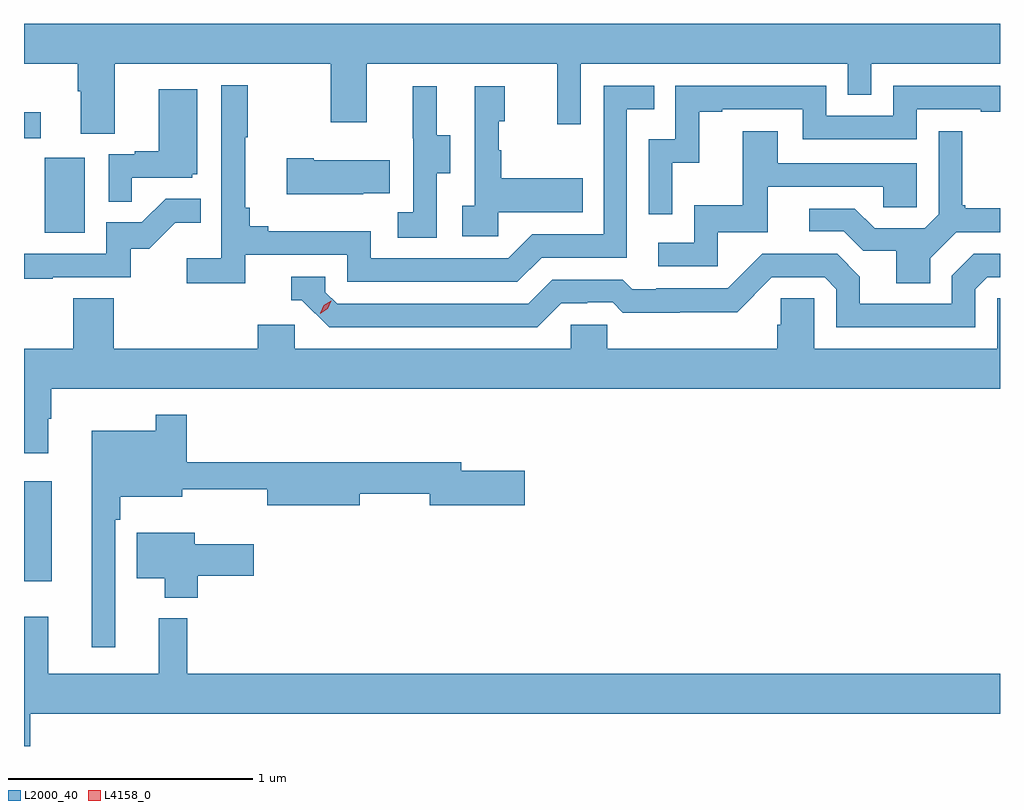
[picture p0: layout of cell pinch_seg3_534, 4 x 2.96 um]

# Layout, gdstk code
import gdstk
lib = gdstk.Library(unit=1e-6, precision=1e-09)
def R(c, l, rs):  # rectangles x0, y0, x1, y1
    for r in rs: c.add(gdstk.rectangle(r[:2], r[2:], *l))
def P(c, l, *ps):  # polygons
    for p in ps: c.add(gdstk.Polygon(p, *l))
L2000_40 = (2000, 40)
L4158_0 = (4158, 0)

pinch_seg3_534 = lib.new_cell('pinch_seg3_534')
R(pinch_seg3_534, L2000_40, [(1104.073,694.799,1104.187,695.209), (1104.158,696.228,1104.322,696.535), (1104.073,696.615,1104.142,696.721)])
P(pinch_seg3_534, L2000_40, [(1104.445,696.92),(1105.33,696.92),(1105.33,696.681),(1105.477,696.681),(1105.477,696.92),(1106.258,696.92),(1106.258,696.672),(1106.355,696.672),(1106.355,696.92),(1107.45,696.92),(1107.45,696.793),(1107.546,696.793),(1107.546,696.92),(1108.073,696.92),(1108.073,697.084),(1104.073,697.084),(1104.073,696.92),(1104.293,696.92),(1104.293,696.808),(1104.305,696.808),(1104.305,696.634),(1104.445,696.634)],
  [(1104.98,696.138),(1105.398,696.138),(1105.398,696.027),(1106.095,696.027),(1106.194,696.126),(1106.544,696.126),(1106.544,696.735),(1106.657,696.735),(1106.657,696.831),(1106.448,696.831),(1106.448,696.222),(1106.157,696.222),(1106.058,696.123),(1105.494,696.123),(1105.494,696.235),(1105.075,696.235),(1105.075,696.254),(1104.998,696.254),(1104.998,696.331),(1104.979,696.331),(1104.979,696.619),(1104.991,696.619),(1104.991,696.832),(1104.882,696.832),(1104.882,696.124),(1104.741,696.124),(1104.741,696.022),(1104.98,696.022)],
  [(1106.73,696.515),(1106.84,696.515),(1106.84,696.723),(1106.935,696.723),(1106.935,696.735),(1107.264,696.735),(1107.264,696.612),(1107.732,696.612),(1107.732,696.735),(1107.995,696.735),(1107.995,696.723),(1108.073,696.723),(1108.073,696.831),(1107.636,696.831),(1107.636,696.708),(1107.36,696.708),(1107.36,696.831),(1106.742,696.831),(1106.742,696.612),(1106.634,696.612),(1106.634,696.303),(1106.73,696.303)],
  [(1105.764,696.472),(1105.819,696.472),(1105.819,696.627),(1105.765,696.627),(1105.765,696.829),(1105.667,696.829),(1105.667,696.615),(1105.668,696.615),(1105.668,696.311),(1105.605,696.311),(1105.605,696.208),(1105.764,696.208)],
  [(1106.016,696.311),(1106.363,696.311),(1106.363,696.451),(1106.029,696.451),(1106.029,696.566),(1106.019,696.566),(1106.019,696.684),(1106.044,696.684),(1106.044,696.829),(1105.92,696.829),(1105.92,696.338),(1105.869,696.338),(1105.869,696.213),(1106.016,696.213)],
  [(1104.515,696.453),(1104.762,696.453),(1104.762,696.468),(1104.784,696.468),(1104.784,696.817),(1104.626,696.817),(1104.626,696.562),(1104.527,696.562),(1104.527,696.549),(1104.42,696.549),(1104.42,696.355),(1104.515,696.355)],
  [(1106.916,696.231),(1107.121,696.231),(1107.121,696.417),(1107.595,696.417),(1107.595,696.333),(1107.732,696.333),(1107.732,696.513),(1107.163,696.513),(1107.163,696.643),(1107.019,696.643),(1107.019,696.34),(1106.82,696.34),(1106.82,696.186),(1106.673,696.186),(1106.673,696.09),(1106.916,696.09)],
  [(1107.787,696.124),(1107.894,696.231),(1108.073,696.231),(1108.073,696.328),(1107.931,696.328),(1107.931,696.34),(1107.919,696.34),(1107.919,696.643),(1107.822,696.643),(1107.822,696.303),(1107.765,696.246),(1107.559,696.246),(1107.478,696.327),(1107.291,696.327),(1107.291,696.234),(1107.432,696.234),(1107.512,696.154),(1107.647,696.154),(1107.647,696.022),(1107.787,696.022)],
  [(1105.463,696.389),(1105.571,696.389),(1105.571,696.526),(1105.261,696.526),(1105.261,696.534),(1105.149,696.534),(1105.149,696.386),(1105.463,696.386)],
  [(1104.191,696.045),(1104.51,696.045),(1104.51,696.162),(1104.586,696.162),(1104.693,696.269),(1104.797,696.269),(1104.797,696.368),(1104.653,696.368),(1104.555,696.27),(1104.411,696.27),(1104.411,696.141),(1104.073,696.141),(1104.073,696.04),(1104.191,696.04)],
  [(1106.275,695.94),(1106.382,695.94),(1106.382,695.943),(1106.485,695.943),(1106.527,695.901),(1106.76,695.901),(1106.76,695.903),(1106.996,695.903),(1107.138,696.045),(1107.354,696.045),(1107.402,695.997),(1107.402,695.841),(1107.972,695.841),(1107.972,695.997),(1108.02,696.045),(1108.073,696.045),(1108.073,696.141),(1107.966,696.141),(1107.876,696.051),(1107.876,695.937),(1107.499,695.937),(1107.499,696.047),(1107.405,696.141),(1107.099,696.141),(1106.958,696),(1106.665,696),(1106.665,695.997),(1106.566,695.997),(1106.527,696.036),(1106.238,696.036),(1106.139,695.937),(1105.356,695.937),(1105.308,695.985),(1105.308,696.048),(1105.169,696.048),(1105.169,695.952),(1105.212,695.952),(1105.323,695.841),(1106.176,695.841)],
  [(1104.172,695.465),(1104.184,695.465),(1104.184,695.588),(1108.073,695.588),(1108.073,695.96),(1108.062,695.96),(1108.062,695.752),(1107.312,695.752),(1107.312,695.96),(1107.175,695.96),(1107.175,695.85),(1107.161,695.85),(1107.161,695.752),(1106.463,695.752),(1106.463,695.85),(1106.313,695.85),(1106.313,695.752),(1105.182,695.752),(1105.182,695.85),(1105.031,695.85),(1105.031,695.752),(1104.44,695.752),(1104.44,695.96),(1104.275,695.96),(1104.275,695.752),(1104.073,695.752),(1104.073,695.325),(1104.172,695.325)],
  [(1104.447,695.051),(1104.467,695.051),(1104.467,695.147),(1104.721,695.147),(1104.721,695.176),(1105.07,695.176),(1105.07,695.111),(1105.45,695.111),(1105.45,695.158),(1105.736,695.158),(1105.736,695.111),(1106.125,695.111),(1106.125,695.253),(1105.864,695.253),(1105.864,695.287),(1104.74,695.287),(1104.74,695.482),(1104.612,695.482),(1104.612,695.416),(1104.35,695.416),(1104.35,694.53),(1104.447,694.53)],
  [(1104.785,694.822),(1105.015,694.822),(1105.015,694.951),(1104.772,694.951),(1104.772,694.999),(1104.536,694.999),(1104.536,694.811),(1104.65,694.811),(1104.65,694.733),(1104.785,694.733)],
  [(1104.626,694.648),(1104.626,694.42),(1104.173,694.42),(1104.173,694.654),(1104.074,694.654),(1104.074,694.529),(1104.073,694.529),(1104.073,694.124),(1104.098,694.124),(1104.098,694.256),(1108.073,694.256),(1108.073,694.42),(1104.743,694.42),(1104.743,694.648)])
P(pinch_seg3_534, L4158_0, [(1105.287,695.897),(1105.287,695.898),(1105.302,695.93),(1105.333,695.95),(1105.333,695.95),(1105.333,695.95),(1105.318,695.917),(1105.287,695.897)])

lib.write_gds('pinch_seg3_534.gds')
